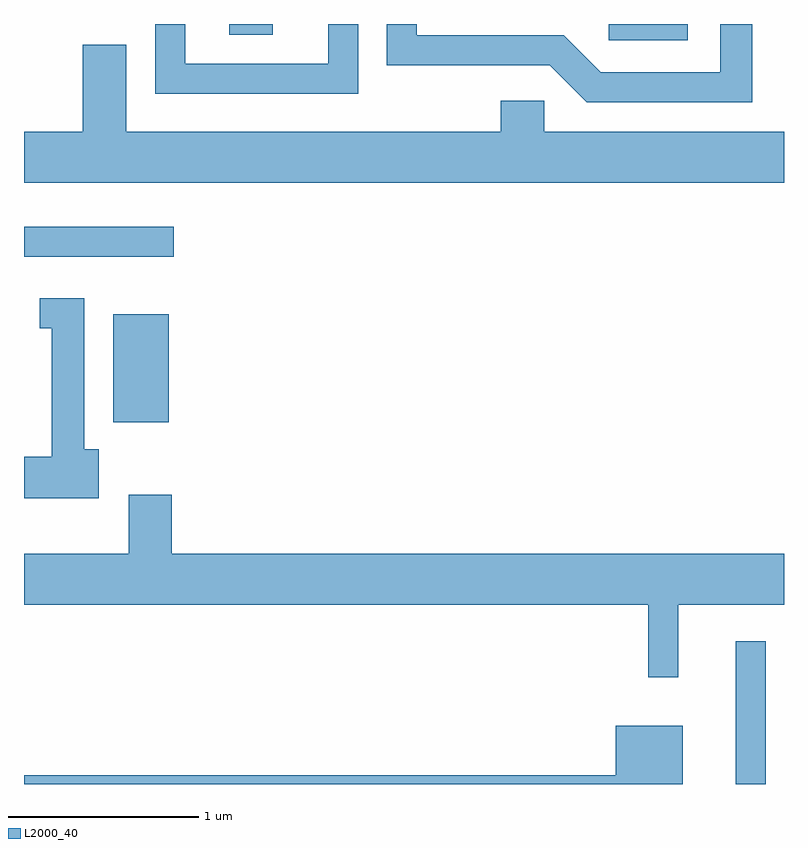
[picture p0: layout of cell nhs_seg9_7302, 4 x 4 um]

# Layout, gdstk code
import gdstk
lib = gdstk.Library(unit=1e-6, precision=1e-09)
def R(c, l, rs):  # rectangles x0, y0, x1, y1
    for r in rs: c.add(gdstk.rectangle(r[:2], r[2:], *l))
def P(c, l, *ps):  # polygons
    for p in ps: c.add(gdstk.Polygon(p, *l))
L2000_40 = (2000, 40)

nhs_seg9_7302 = lib.new_cell('nhs_seg9_7302')
R(nhs_seg9_7302, L2000_40, [(405.356,1986.432,405.514,1987.183), (402.081,1988.336,402.374,1988.904), (401.611,1989.206,402.398,1989.364), (404.688,1990.346,405.104,1990.432), (402.691,1990.376,402.919,1990.432)])
P(nhs_seg9_7302, L2000_40, [(403.369,1990.432),(403.211,1990.432),(403.211,1990.224),(402.459,1990.224),(402.459,1990.432),(402.301,1990.432),(402.301,1990.066),(403.369,1990.066)],
  [(405.444,1990.432),(405.276,1990.432),(405.276,1990.179),(404.647,1990.179),(404.452,1990.374),(403.679,1990.374),(403.679,1990.432),(403.521,1990.432),(403.521,1990.216),(404.379,1990.216),(404.574,1990.021),(405.444,1990.021)],
  [(405.611,1989.864),(404.349,1989.864),(404.349,1990.029),(404.121,1990.029),(404.121,1989.864),(402.149,1989.864),(402.149,1990.324),(401.921,1990.324),(401.921,1989.864),(401.611,1989.864),(401.611,1989.596),(405.611,1989.596)],
  [(402.004,1988.194),(401.929,1988.194),(401.929,1988.989),(401.693,1988.989),(401.693,1988.831),(401.756,1988.831),(401.756,1988.154),(401.611,1988.154),(401.611,1987.936),(402.004,1987.936)],
  [(405.054,1987.376),(405.611,1987.376),(405.611,1987.644),(402.389,1987.644),(402.389,1987.954),(402.161,1987.954),(402.161,1987.644),(401.611,1987.644),(401.611,1987.376),(404.896,1987.376),(404.896,1986.993),(405.054,1986.993)],
  [(405.079,1986.739),(404.726,1986.739),(404.726,1986.479),(401.611,1986.479),(401.611,1986.432),(405.079,1986.432)])

lib.write_gds('nhs_seg9_7302.gds')
